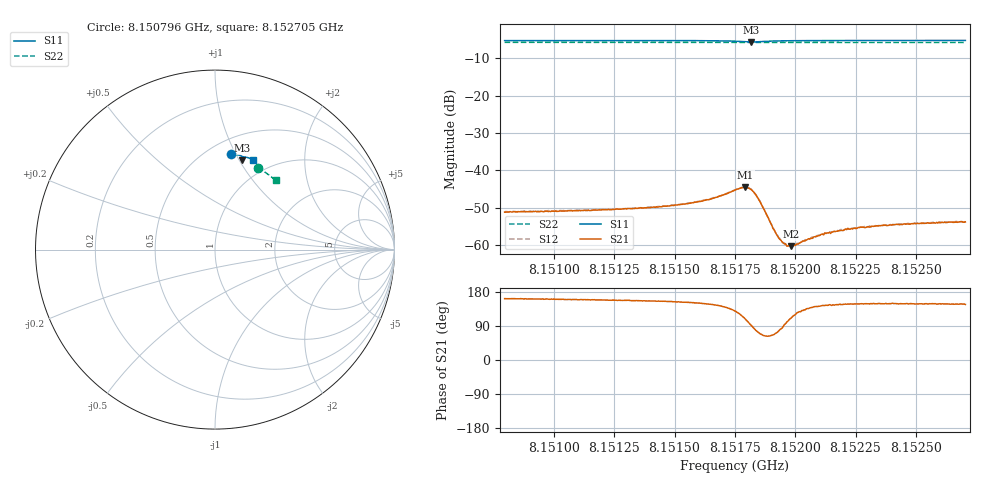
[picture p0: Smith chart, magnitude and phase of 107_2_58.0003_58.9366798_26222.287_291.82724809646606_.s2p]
#  HZ  S  RI  R  50.00
! Rohde & Schwarz Vector Network Analyzer
! Rohde-Schwarz,ZNB20-2Port,1311601062101988,3.16
! Created: UTC 3/21/2024, 12:55:03 AM
! freq[Hz]  re:S11  im:S11  re:S21  im:S21  re:S12  im:S12  re:S22  im:S22
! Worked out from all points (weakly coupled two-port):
!   401 points, 8.150796 GHz to 8.152705 GHz, reference 50 ohm
!   highest |S21| = -44.54 dB at 8.151793 GHz (marker M1); lowest = -60.3 dB at 8.151984 GHz (marker M2)
!   lowest |S11| = -5.7 dB at 8.151817 GHz (marker M3), VSWR 3.17, Z = 37.7 + j51.4 ohm
!   |S11| at or under -10 dB: nowhere
!   |S22| runs from -5.8 to -5.8 dB; largest |S21 - S12| = 0.00015
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8.1507958e9  0.0887 0.5351  -0.00263 0.000857  -0.00262 0.000925  0.2378 0.4563
8.1511156e9  0.1116 0.5311  -0.00272 0.00103  -0.00271 0.00108  0.2558 0.4461
8.1514354e9  0.135 0.526  -0.00296 0.00135  -0.00299 0.00142  0.2734 0.435
8.1515357e9  0.1428 0.5234  -0.00314 0.00164  -0.00314 0.00171  0.2787 0.4314
8.151612e9  0.1492 0.5207  -0.00334 0.00196  -0.00335 0.00204  0.2827 0.4286
8.1516836e9  0.156 0.5167  -0.00362 0.00268  -0.00358 0.00276  0.2865 0.4259
8.1517505e9  0.1613 0.508  -0.00343 0.00421  -0.00338 0.00432  0.29 0.4232
8.1517934e9  0.1578 0.4989  -0.00183 0.00564  -0.00174 0.00568  0.2919 0.4213
8.1518173e9  0.1514 0.4973  -0.000156 0.00554  -6.54e-05 0.00561  0.2928 0.4205
8.1518316e9  0.1476 0.4992  0.000708 0.00491  0.000789 0.00492  0.2935 0.4202
8.1518507e9  0.145 0.5037  0.0013 0.00377  0.00133 0.00381  0.2943 0.4197
8.151908e9  0.1495 0.5139  0.000673 0.00153  0.000706 0.00158  0.2974 0.418
8.1519318e9  0.1529 0.5156  0.000284 0.00121  0.000287 0.00121  0.2989 0.4171
8.1519414e9  0.154 0.516  0.000157 0.00115  0.000143 0.00116  0.2993 0.4166
8.1519605e9  0.1563 0.5163  -0.000116 0.00104  -0.000109 0.00102  0.3004 0.416
8.1519844e9  0.159 0.5166  -0.000357 0.000902  -0.000346 0.000928  0.3015 0.4151
8.1520082e9  0.1616 0.5168  -0.000591 0.000849  -0.00061 0.000867  0.3029 0.414
8.1520703e9  0.1675 0.5161  -0.000924 0.000816  -0.000943 0.000877  0.306 0.4115
8.1521323e9  0.1727 0.515  -0.00118 0.000856  -0.00117 0.000868  0.3092 0.4092
8.1522135e9  0.1791 0.5133  -0.00136 0.000877  -0.00138 0.000893  0.3134 0.4059
8.1523901e9  0.1919 0.5096  -0.00159 0.000966  -0.00158 0.001  0.3221 0.3987
8.1527051e9  0.2131 0.5017  -0.00171 0.00113  -0.00174 0.00112  0.3373 0.3854
